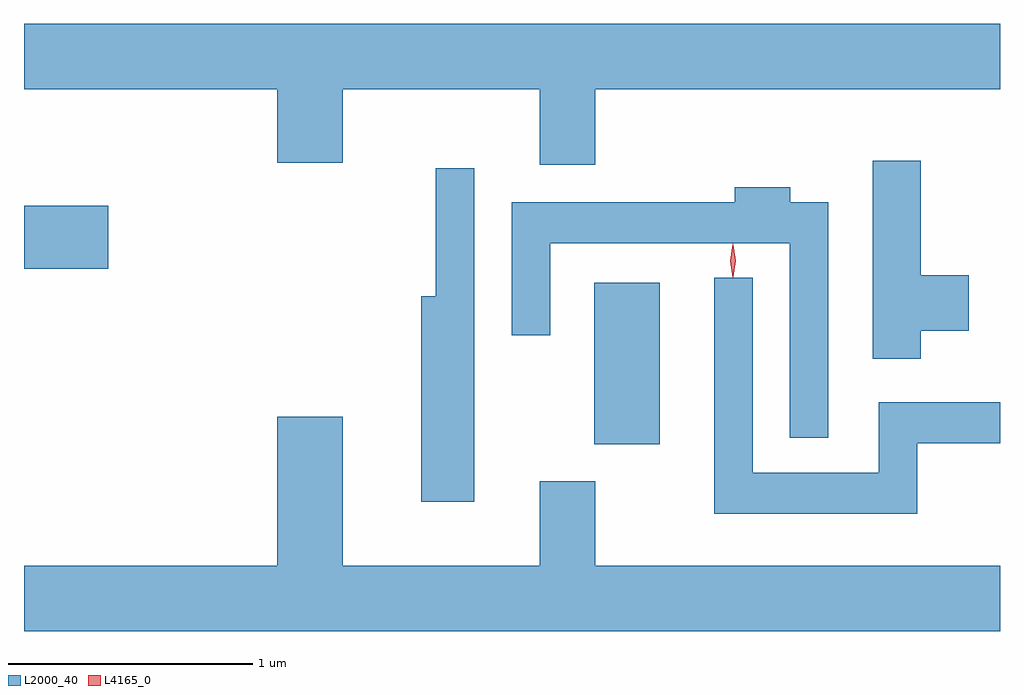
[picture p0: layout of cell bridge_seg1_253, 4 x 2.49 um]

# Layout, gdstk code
import gdstk
lib = gdstk.Library(unit=1e-6, precision=1e-09)
def R(c, l, rs):  # rectangles x0, y0, x1, y1
    for r in rs: c.add(gdstk.rectangle(r[:2], r[2:], *l))
def P(c, l, *ps):  # polygons
    for p in ps: c.add(gdstk.Polygon(p, *l))
L2000_40 = (2000, 40)
L4165_0 = (4165, 0)

bridge_seg1_253 = lib.new_cell('bridge_seg1_253')
R(bridge_seg1_253, L2000_40, [(955.636,893.681,955.904,894.344), (953.298,894.401,953.644,894.659)])
P(bridge_seg1_253, L2000_40, [(955.639,895.136),(957.298,895.136),(957.298,895.404),(953.298,895.404),(953.298,895.136),(954.336,895.136),(954.336,894.836),(954.604,894.836),(954.604,895.136),(955.411,895.136),(955.411,894.826),(955.639,894.826)],
  [(956.974,894.146),(957.169,894.146),(957.169,894.374),(956.974,894.374),(956.974,894.844),(956.776,894.844),(956.776,894.031),(956.974,894.031)],
  [(955.144,894.813),(954.986,894.813),(954.986,894.289),(954.926,894.289),(954.926,893.446),(955.144,893.446)],
  [(956.594,894.674),(956.439,894.674),(956.439,894.734),(956.211,894.734),(956.211,894.674),(955.296,894.674),(955.296,894.128),(955.454,894.128),(955.454,894.506),(956.436,894.506),(956.436,893.708),(956.594,893.708)],
  [(956.959,893.686),(957.298,893.686),(957.298,893.854),(956.801,893.854),(956.801,893.564),(956.284,893.564),(956.284,894.363),(956.126,894.363),(956.126,893.396),(956.959,893.396)],
  [(957.298,893.184),(955.639,893.184),(955.639,893.529),(955.411,893.529),(955.411,893.184),(954.604,893.184),(954.604,893.794),(954.336,893.794),(954.336,893.184),(953.298,893.184),(953.298,892.916),(957.298,892.916)])
P(bridge_seg1_253, L4165_0, [(956.203,894.364),(956.203,894.364),(956.193,894.433),(956.203,894.502),(956.203,894.503),(956.204,894.502),(956.213,894.433),(956.204,894.364)],
  [(956.205,894.367),(956.204,894.368),(956.195,894.434),(956.204,894.5),(956.205,894.501),(956.205,894.5),(956.215,894.434),(956.205,894.368)])

lib.write_gds('bridge_seg1_253.gds')
